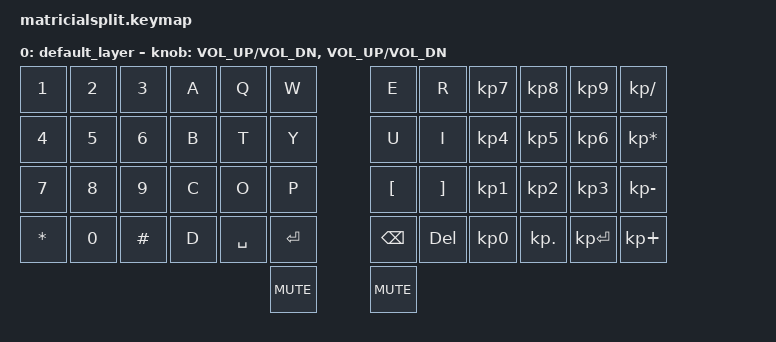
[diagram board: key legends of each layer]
#include <behaviors.dtsi>
#include <dt-bindings/zmk/keys.h>
#include <dt-bindings/zmk/bt.h>

/ {
    keymap {
        compatible = "zmk,keymap";

        default_layer {
            // Matriz expandida: lado izquierdo (4x4) + lado derecho (4x4) + numpad (4x4) + encoder clicks
            bindings = <
                // Izquierdo                               Derecho                                     Numpad
                &kp N1      &kp N2    &kp N3    &kp A      &kp Q        &kp W     &kp E     &kp R      &kp KP_N7   &kp KP_N8   &kp KP_N9     &kp KP_DIVIDE
                &kp N4      &kp N5    &kp N6    &kp B      &kp T        &kp Y     &kp U     &kp I      &kp KP_N4   &kp KP_N5   &kp KP_N6     &kp KP_MULTIPLY
                &kp N7      &kp N8    &kp N9    &kp C      &kp O        &kp P     &kp LBKT  &kp RBKT   &kp KP_N1   &kp KP_N2   &kp KP_N3     &kp KP_MINUS
                &kp ASTRK   &kp N0    &kp HASH  &kp D      &kp SPACE    &kp ENTER &kp BSPC  &kp DEL    &kp KP_N0   &kp KP_DOT  &kp KP_ENTER  &kp KP_PLUS
                &kp C_MUTE                                 &kp C_MUTE
            >;
            
            // Configuración de encoders - NECESARIO para el dongle
            sensor-bindings = <
                &inc_dec_kp C_VOL_UP C_VOL_DN    // Encoder izquierdo: Volumen
                &inc_dec_kp C_VOL_UP C_VOL_DN    // Encoder derecho: Volumen
            >;
        };
    };
};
